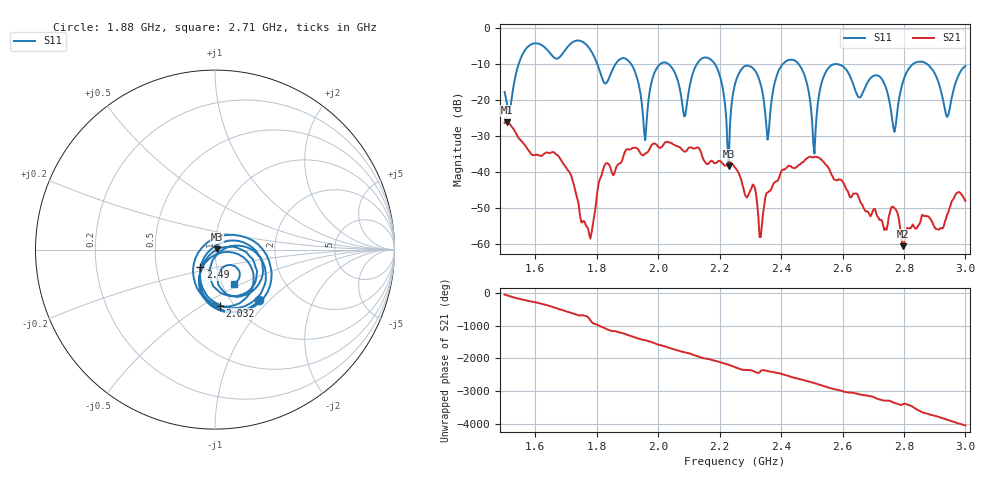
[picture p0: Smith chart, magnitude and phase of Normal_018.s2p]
# HZ S RI R 50
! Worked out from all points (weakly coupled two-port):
!   404 points, 1.5 GHz to 3 GHz, reference 50 ohm
!   highest |S21| = -26.28 dB at 1.507 GHz (marker M1); lowest = -60.6 dB at 2.795 GHz (marker M2)
!   lowest |S11| = -38.5 dB at 2.23 GHz (marker M3), VSWR 1.02, Z = 51.2 + j0.0684 ohm
!   |S11| at or under -10 dB: 2.184 GHz to 2.407 GHz (223.8 MHz wide, 9.75 % of centre); 2.456 GHz to 2.831 GHz (375.7 MHz wide, 14.2 % of centre); 2.874 GHz to end of sweep (the widest 3 of 7)
!   S12 and S22 are empty: the file has one direction only
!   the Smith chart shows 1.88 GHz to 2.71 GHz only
!   S11 on the Smith chart (normalised r, x): 1.88 GHz: 1.34, -0.86; 2.032 GHz: 0.86, -0.60; 2.49 GHz: 0.84, -0.17; 2.71 GHz: 1.13, -0.46
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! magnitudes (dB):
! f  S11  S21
! 1.5 GHz  -17.8  -26.4
! 1.507 GHz  -21.1  -26.3
! 1.753 GHz  -3.9  -54.0
! 1.88 GHz  -8.6  -37.4
! 1.958 GHz  -31.2  -34.9
! 2.002 GHz  -10.4  -33.3
! 2.032 GHz  -10.1  -31.7
! 2.084 GHz  -24.6  -34.4
! 2.177 GHz  -9.4  -37.1
! 2.23 GHz  -38.5  -37.7
! 2.252 GHz  -15.1  -38.9
! 2.334 GHz  -15.8  -58.1
! 2.356 GHz  -31.1  -45.8
! 2.412 GHz  -9.6  -39.3
! 2.49 GHz  -17.9  -35.9
! 2.501 GHz  -26.2  -36.0
! 2.561 GHz  -10.6  -40.0
! 2.71 GHz  -13.2  -51.5
! 2.751 GHz  -19.6  -52.4
! 2.795 GHz  -15.5  -60.6
! 2.94 GHz  -24.8  -51.8
! 3 GHz  -10.6  -48.1
